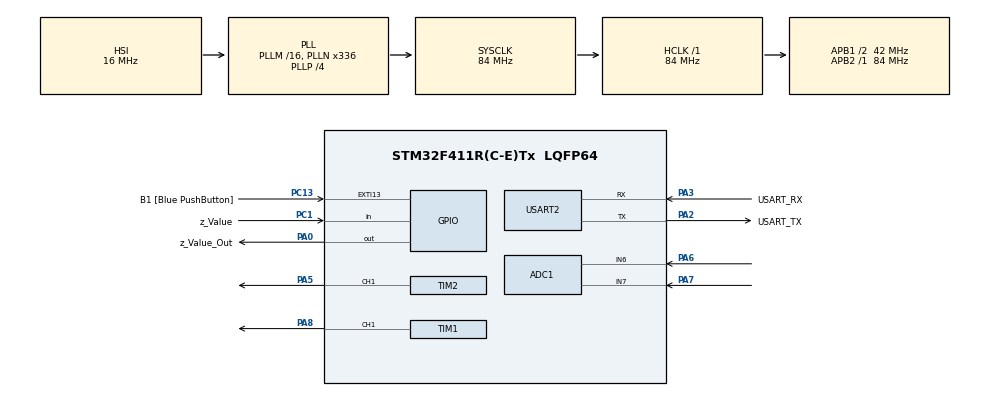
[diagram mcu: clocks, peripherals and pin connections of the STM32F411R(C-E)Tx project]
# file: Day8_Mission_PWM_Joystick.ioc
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ADC1.Channel-0\#ChannelRegularConversion=ADC_CHANNEL_6
ADC1.Channel-1\#ChannelRegularConversion=ADC_CHANNEL_7
ADC1.DMAContinuousRequests=DISABLE
ADC1.EOCSelection=ADC_EOC_SINGLE_CONV
ADC1.ExternalTrigConv=ADC_SOFTWARE_START
ADC1.NbrOfConversion=2
ADC1.NbrOfConversionFlag=1
ADC1.Rank-0\#ChannelRegularConversion=1
ADC1.Rank-1\#ChannelRegularConversion=2
ADC1.SamplingTime-0\#ChannelRegularConversion=ADC_SAMPLETIME_84CYCLES
ADC1.SamplingTime-1\#ChannelRegularConversion=ADC_SAMPLETIME_84CYCLES
ADC1.ScanConvMode=ENABLE
ADC1.master=1
Mcu.Family=STM32F4
Mcu.Name=STM32F411R(C-E)Tx
Mcu.Package=LQFP64
NVIC.PriorityGroup=NVIC_PRIORITYGROUP_0
PA0-WKUP.GPIO_Label=z_Value_Out
PA0-WKUP.Signal=GPIO_Output
PA13.GPIO_Label=TMS
PA13.Mode=Serial_Wire
PA13.Signal=SYS_JTMS-SWDIO
PA14.GPIO_Label=TCK
PA14.Mode=Serial_Wire
PA14.Signal=SYS_JTCK-SWCLK
PA2.GPIO_Label=USART_TX
PA2.Mode=Asynchronous
PA2.Signal=USART2_TX
PA3.GPIO_Label=USART_RX
PA3.Mode=Asynchronous
PA3.Signal=USART2_RX
PA5.Signal=S_TIM2_CH1_ETR
PA6.Signal=ADCx_IN6
PA7.Signal=ADCx_IN7
PA8.Signal=S_TIM1_CH1
PB3.GPIO_Label=SWO
PB3.Signal=SYS_JTDO-SWO
PC1.GPIO_Label=z_Value
PC1.GPIO_PuPd=GPIO_PULLUP
PC1.Signal=GPIO_Input
PC13-ANTI_TAMP.GPIO_Label=B1 [Blue PushButton]
PC13-ANTI_TAMP.GPIO_ModeDefaultEXTI=GPIO_MODE_IT_FALLING
PC13-ANTI_TAMP.Signal=GPXTI13
PC14-OSC32_IN.Mode=LSE-External-Oscillator
PC14-OSC32_IN.Signal=RCC_OSC32_IN
PC15-OSC32_OUT.Mode=LSE-External-Oscillator
PC15-OSC32_OUT.Signal=RCC_OSC32_OUT
PH0\ -\ OSC_IN.Mode=HSE-External-Clock-Source
PH0\ -\ OSC_IN.Signal=RCC_OSC_IN
PH1\ -\ OSC_OUT.Mode=HSE-External-Clock-Source
PH1\ -\ OSC_OUT.Signal=RCC_OSC_OUT
ProjectManager.HeapSize=0x200
ProjectManager.StackSize=0x400
ProjectManager.TargetToolchain=STM32CubeIDE
RCC.48MHZClocksFreq_Value=84000000
RCC.AHBFreq_Value=84000000
RCC.APB1CLKDivider=RCC_HCLK_DIV2
RCC.APB1Freq_Value=42000000
RCC.APB1TimFreq_Value=84000000
RCC.APB2Freq_Value=84000000
RCC.APB2TimFreq_Value=84000000
RCC.CortexFreq_Value=84000000
RCC.FLatency-AdvancedSettings=FLASH_LATENCY_2
RCC.HCLKFreq_Value=84000000
RCC.HSE_VALUE=8000000
RCC.HSI_VALUE=16000000
RCC.PLLN=336
RCC.PLLP=RCC_PLLP_DIV4
RCC.SYSCLKFreq_VALUE=84000000
RCC.SYSCLKSource=RCC_SYSCLKSOURCE_PLLCLK
RCC.VCOOutputFreq_Value=336000000
SH.ADCx_IN6.0=ADC1_IN6,IN6
SH.ADCx_IN7.0=ADC1_IN7,IN7
SH.S_TIM1_CH1.0=TIM1_CH1,PWM Generation1 CH1
SH.S_TIM2_CH1_ETR.0=TIM2_CH1,PWM Generation1 CH1
TIM1.Channel-PWM\ Generation1\ CH1=TIM_CHANNEL_1
TIM1.Period=839
TIM1.Prescaler=839
TIM2.Channel-PWM\ Generation1\ CH1=TIM_CHANNEL_1
TIM2.Period=839
TIM2.Prescaler=839
USART2.VirtualMode=VM_ASYNC
board=NUCLEO-F411RE

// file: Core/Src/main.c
/* USER CODE BEGIN Header */
/**
  ******************************************************************************
  * @file           : main.c
  * @brief          : Main program body
  ******************************************************************************
  * @attention
  *
  * Copyright (c) 2023 STMicroelectronics.
  * All rights reserved.
  *
  * This software is licensed under terms that can be found in the LICENSE file
  * in the root directory of this software component.
  * If no LICENSE file comes with this software, it is provided AS-IS.
  *
  ******************************************************************************
  */
/* USER CODE END Header */
#include "main.h"

ADC_HandleTypeDef hadc1;

TIM_HandleTypeDef htim1;
TIM_HandleTypeDef htim2;

UART_HandleTypeDef huart2;

/* USER CODE BEGIN PV */
int xVal, yVal, zVal;
/* USER CODE END PV */

void SystemClock_Config(void);
static void MX_GPIO_Init(void);
static void MX_USART2_UART_Init(void);
static void MX_ADC1_Init(void);
static void MX_TIM2_Init(void);
static void MX_TIM1_Init(void);
/* USER CODE BEGIN PFP */
void JoyStick()
{
	HAL_ADC_Start(&hadc1);
	HAL_ADC_PollForConversion(&hadc1, 100);
	xVal = HAL_ADC_GetValue(&hadc1);

	HAL_ADC_PollForConversion(&hadc1, 100);
	yVal = HAL_ADC_GetValue(&hadc1);
	HAL_ADC_Stop(&hadc1);

	zVal = !(HAL_GPIO_ReadPin(z_Value_GPIO_Port, z_Value_Pin));

	//if(op)	printf("x : %5d, y : %5d, z : %d \r\n", xVal, yVal, zVal);
}

/* USER CODE END PFP */

int main(void)
{

  /* MCU Configuration--------------------------------------------------------*/

  /* Reset of all peripherals, Initializes the Flash interface and the Systick. */
  HAL_Init();

  /* USER CODE BEGIN Init */
int arr1 = 0;
int arr2 = 0;
  /* USER CODE END Init */

  /* Configure the system clock */
  SystemClock_Config();

  /* Initialize all configured peripherals */
  MX_GPIO_Init();
  MX_USART2_UART_Init();
  MX_ADC1_Init();
  MX_TIM2_Init();
  MX_TIM1_Init();
  /* USER CODE BEGIN 2 */
  printf("Hello! Program Start! \r\n");
  HAL_TIM_PWM_Start(&htim2, TIM_CHANNEL_1);
  HAL_TIM_PWM_Start(&htim1, TIM_CHANNEL_1);
  /* USER CODE END 2 */

  /* Infinite loop */
  while (1)
  {

    /* USER CODE BEGIN 3 */
	JoyStick();
	arr1 = xVal*1000/4095;
	arr2 = yVal*1000/4095;
	htim2.Instance->CCR1 = arr1;
	htim1.Instance->CCR1 = arr2;
	// zVal = !(HAL_GPIO_ReadPin(z_Value_GPIO_Port, z_Value_Pin));
	HAL_GPIO_WritePin(z_Value_Out_GPIO_Port,z_Value_Out_Pin , zVal);
	HAL_Delay(10);
  }
  /* USER CODE END 3 */
}

void SystemClock_Config(void)
{
  RCC_OscInitTypeDef RCC_OscInitStruct = {0};
  RCC_ClkInitTypeDef RCC_ClkInitStruct = {0};

  /** Configure the main internal regulator output voltage
  */
  __HAL_RCC_PWR_CLK_ENABLE();
  __HAL_PWR_VOLTAGESCALING_CONFIG(PWR_REGULATOR_VOLTAGE_SCALE1);

  /** Initializes the RCC Oscillators according to the specified parameters
  * in the RCC_OscInitTypeDef structure.
  */
  RCC_OscInitStruct.OscillatorType = RCC_OSCILLATORTYPE_HSI;
  RCC_OscInitStruct.HSIState = RCC_HSI_ON;
  RCC_OscInitStruct.HSICalibrationValue = RCC_HSICALIBRATION_DEFAULT;
  RCC_OscInitStruct.PLL.PLLState = RCC_PLL_ON;
  RCC_OscInitStruct.PLL.PLLSource = RCC_PLLSOURCE_HSI;
  RCC_OscInitStruct.PLL.PLLM = 16;
  RCC_OscInitStruct.PLL.PLLN = 336;
  RCC_OscInitStruct.PLL.PLLP = RCC_PLLP_DIV4;
  RCC_OscInitStruct.PLL.PLLQ = 4;
  if (HAL_RCC_OscConfig(&RCC_OscInitStruct) != HAL_OK)
  {
    Error_Handler();
  }

  /** Initializes the CPU, AHB and APB buses clocks
  */
  RCC_ClkInitStruct.ClockType = RCC_CLOCKTYPE_HCLK|RCC_CLOCKTYPE_SYSCLK
                              |RCC_CLOCKTYPE_PCLK1|RCC_CLOCKTYPE_PCLK2;
  RCC_ClkInitStruct.SYSCLKSource = RCC_SYSCLKSOURCE_PLLCLK;
  RCC_ClkInitStruct.AHBCLKDivider = RCC_SYSCLK_DIV1;
  RCC_ClkInitStruct.APB1CLKDivider = RCC_HCLK_DIV2;
  RCC_ClkInitStruct.APB2CLKDivider = RCC_HCLK_DIV1;

  if (HAL_RCC_ClockConfig(&RCC_ClkInitStruct, FLASH_LATENCY_2) != HAL_OK)
  {
    Error_Handler();
  }
}

static void MX_ADC1_Init(void)
{

  ADC_ChannelConfTypeDef sConfig = {0};

  /** Configure the global features of the ADC (Clock, Resolution, Data Alignment and number of conversion)
  */
  hadc1.Instance = ADC1;
  hadc1.Init.ClockPrescaler = ADC_CLOCK_SYNC_PCLK_DIV4;
  hadc1.Init.Resolution = ADC_RESOLUTION_12B;
  hadc1.Init.ScanConvMode = ENABLE;
  hadc1.Init.ContinuousConvMode = DISABLE;
  hadc1.Init.DiscontinuousConvMode = DISABLE;
  hadc1.Init.ExternalTrigConvEdge = ADC_EXTERNALTRIGCONVEDGE_NONE;
  hadc1.Init.ExternalTrigConv = ADC_SOFTWARE_START;
  hadc1.Init.DataAlign = ADC_DATAALIGN_RIGHT;
  hadc1.Init.NbrOfConversion = 2;
  hadc1.Init.DMAContinuousRequests = DISABLE;
  hadc1.Init.EOCSelection = ADC_EOC_SINGLE_CONV;
  if (HAL_ADC_Init(&hadc1) != HAL_OK)
  {
    Error_Handler();
  }

  /** Configure for the selected ADC regular channel its corresponding rank in the sequencer and its sample time.
  */
  sConfig.Channel = ADC_CHANNEL_6;
  sConfig.Rank = 1;
  sConfig.SamplingTime = ADC_SAMPLETIME_84CYCLES;
  if (HAL_ADC_ConfigChannel(&hadc1, &sConfig) != HAL_OK)
  {
    Error_Handler();
  }

  /** Configure for the selected ADC regular channel its corresponding rank in the sequencer and its sample time.
  */
  sConfig.Channel = ADC_CHANNEL_7;
  sConfig.Rank = 2;
  if (HAL_ADC_ConfigChannel(&hadc1, &sConfig) != HAL_OK)
  {
    Error_Handler();
  }

}

static void MX_TIM1_Init(void)
{

  TIM_MasterConfigTypeDef sMasterConfig = {0};
  TIM_OC_InitTypeDef sConfigOC = {0};
  TIM_BreakDeadTimeConfigTypeDef sBreakDeadTimeConfig = {0};

  htim1.Instance = TIM1;
  htim1.Init.Prescaler = 839;
  htim1.Init.CounterMode = TIM_COUNTERMODE_UP;
  htim1.Init.Period = 839;
  htim1.Init.ClockDivision = TIM_CLOCKDIVISION_DIV1;
  htim1.Init.RepetitionCounter = 0;
  htim1.Init.AutoReloadPreload = TIM_AUTORELOAD_PRELOAD_DISABLE;
  if (HAL_TIM_PWM_Init(&htim1) != HAL_OK)
  {
    Error_Handler();
  }
  sMasterConfig.MasterOutputTrigger = TIM_TRGO_RESET;
  sMasterConfig.MasterSlaveMode = TIM_MASTERSLAVEMODE_DISABLE;
  if (HAL_TIMEx_MasterConfigSynchronization(&htim1, &sMasterConfig) != HAL_OK)
  {
    Error_Handler();
  }
  sConfigOC.OCMode = TIM_OCMODE_PWM1;
  sConfigOC.Pulse = 0;
  sConfigOC.OCPolarity = TIM_OCPOLARITY_HIGH;
  sConfigOC.OCNPolarity = TIM_OCNPOLARITY_HIGH;
  sConfigOC.OCFastMode = TIM_OCFAST_DISABLE;
  sConfigOC.OCIdleState = TIM_OCIDLESTATE_RESET;
  sConfigOC.OCNIdleState = TIM_OCNIDLESTATE_RESET;
  if (HAL_TIM_PWM_ConfigChannel(&htim1, &sConfigOC, TIM_CHANNEL_1) != HAL_OK)
  {
    Error_Handler();
  }
  sBreakDeadTimeConfig.OffStateRunMode = TIM_OSSR_DISABLE;
  sBreakDeadTimeConfig.OffStateIDLEMode = TIM_OSSI_DISABLE;
  sBreakDeadTimeConfig.LockLevel = TIM_LOCKLEVEL_OFF;
  sBreakDeadTimeConfig.DeadTime = 0;
  sBreakDeadTimeConfig.BreakState = TIM_BREAK_DISABLE;
  sBreakDeadTimeConfig.BreakPolarity = TIM_BREAKPOLARITY_HIGH;
  sBreakDeadTimeConfig.AutomaticOutput = TIM_AUTOMATICOUTPUT_DISABLE;
  if (HAL_TIMEx_ConfigBreakDeadTime(&htim1, &sBreakDeadTimeConfig) != HAL_OK)
  {
    Error_Handler();
  }
  HAL_TIM_MspPostInit(&htim1);

}

static void MX_TIM2_Init(void)
{

  TIM_MasterConfigTypeDef sMasterConfig = {0};
  TIM_OC_InitTypeDef sConfigOC = {0};

  htim2.Instance = TIM2;
  htim2.Init.Prescaler = 839;
  htim2.Init.CounterMode = TIM_COUNTERMODE_UP;
  htim2.Init.Period = 839;
  htim2.Init.ClockDivision = TIM_CLOCKDIVISION_DIV1;
  htim2.Init.AutoReloadPreload = TIM_AUTORELOAD_PRELOAD_DISABLE;
  if (HAL_TIM_PWM_Init(&htim2) != HAL_OK)
  {
    Error_Handler();
  }
  sMasterConfig.MasterOutputTrigger = TIM_TRGO_RESET;
  sMasterConfig.MasterSlaveMode = TIM_MASTERSLAVEMODE_DISABLE;
  if (HAL_TIMEx_MasterConfigSynchronization(&htim2, &sMasterConfig) != HAL_OK)
  {
    Error_Handler();
  }
  sConfigOC.OCMode = TIM_OCMODE_PWM1;
  sConfigOC.Pulse = 0;
  sConfigOC.OCPolarity = TIM_OCPOLARITY_HIGH;
  sConfigOC.OCFastMode = TIM_OCFAST_DISABLE;
  if (HAL_TIM_PWM_ConfigChannel(&htim2, &sConfigOC, TIM_CHANNEL_1) != HAL_OK)
  {
    Error_Handler();
  }
  HAL_TIM_MspPostInit(&htim2);

}

static void MX_USART2_UART_Init(void)
{

  huart2.Instance = USART2;
  huart2.Init.BaudRate = 115200;
  huart2.Init.WordLength = UART_WORDLENGTH_8B;
  huart2.Init.StopBits = UART_STOPBITS_1;
  huart2.Init.Parity = UART_PARITY_NONE;
  huart2.Init.Mode = UART_MODE_TX_RX;
  huart2.Init.HwFlowCtl = UART_HWCONTROL_NONE;
  huart2.Init.OverSampling = UART_OVERSAMPLING_16;
  if (HAL_UART_Init(&huart2) != HAL_OK)
  {
    Error_Handler();
  }

}

static void MX_GPIO_Init(void)
{
  GPIO_InitTypeDef GPIO_InitStruct = {0};

  /* GPIO Ports Clock Enable */
  __HAL_RCC_GPIOC_CLK_ENABLE();
  __HAL_RCC_GPIOH_CLK_ENABLE();
  __HAL_RCC_GPIOA_CLK_ENABLE();
  __HAL_RCC_GPIOB_CLK_ENABLE();

  /*Configure GPIO pin Output Level */
  HAL_GPIO_WritePin(z_Value_Out_GPIO_Port, z_Value_Out_Pin, GPIO_PIN_RESET);

  /*Configure GPIO pin : B1_Pin */
  GPIO_InitStruct.Pin = B1_Pin;
  GPIO_InitStruct.Mode = GPIO_MODE_IT_FALLING;
  GPIO_InitStruct.Pull = GPIO_NOPULL;
  HAL_GPIO_Init(B1_GPIO_Port, &GPIO_InitStruct);

  /*Configure GPIO pin : z_Value_Pin */
  GPIO_InitStruct.Pin = z_Value_Pin;
  GPIO_InitStruct.Mode = GPIO_MODE_INPUT;
  GPIO_InitStruct.Pull = GPIO_PULLUP;
  HAL_GPIO_Init(z_Value_GPIO_Port, &GPIO_InitStruct);

  /*Configure GPIO pin : z_Value_Out_Pin */
  GPIO_InitStruct.Pin = z_Value_Out_Pin;
  GPIO_InitStruct.Mode = GPIO_MODE_OUTPUT_PP;
  GPIO_InitStruct.Pull = GPIO_NOPULL;
  GPIO_InitStruct.Speed = GPIO_SPEED_FREQ_LOW;
  HAL_GPIO_Init(z_Value_Out_GPIO_Port, &GPIO_InitStruct);

}

void Error_Handler(void)
{
  __disable_irq();
  while (1)
  {
  }
}
